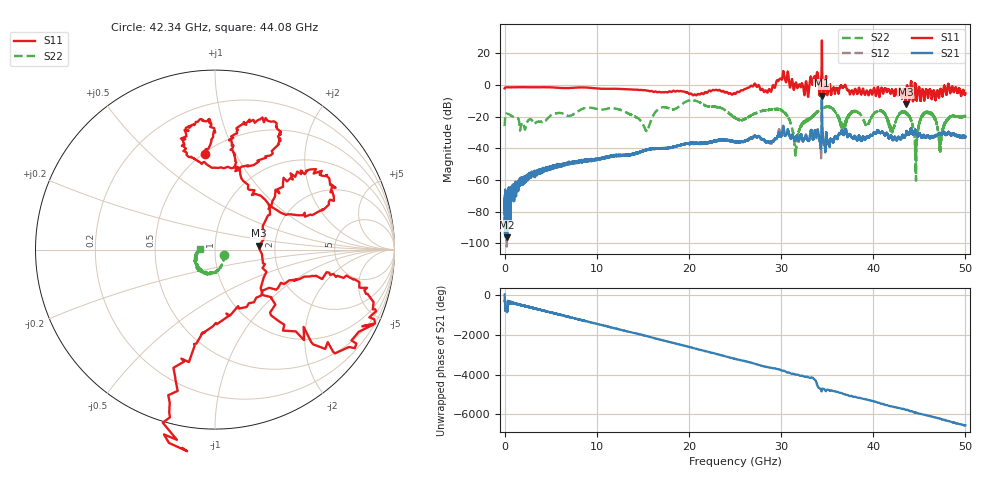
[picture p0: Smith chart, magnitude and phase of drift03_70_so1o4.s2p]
!Created with skrf (http://scikit-rf.org).
# Hz S RI R 50.0
!freq ReS11 ImS11 ReS21 ImS21 ReS12 ImS12 ReS22 ImS22
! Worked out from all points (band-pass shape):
!   10000 points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, 5.3 MHz to 50 GHz, reference 50 ohm
!   highest |S21| = -6.65 dB at 34.43 GHz (marker M1); lowest = -96.1 dB at 285.3 MHz (marker M2)
!   |S21| within 3 dB of the highest: 34.42738 GHz to 34.43436 GHz (6.981 MHz wide, 0.0203 % of centre)
!   lowest |S11| = -12.2 dB at 43.52 GHz (marker M3), VSWR 1.65, Z = 82.2 + j3.82 ohm
!   |S11| at or under -10 dB: 43.48486 GHz to 43.55086 GHz (65.99 MHz wide, 0.152 % of centre); 44.30576 GHz to 44.31408 GHz (8.322 MHz wide, 0.0188 % of centre); 45.13934 GHz to 45.14067 GHz (1.329 MHz wide, 0.00294 % of centre)
!   |S22| runs from -60.4 to -9.4 dB; largest |S21 - S12| = 0.15
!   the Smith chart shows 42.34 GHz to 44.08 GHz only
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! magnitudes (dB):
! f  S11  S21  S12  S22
! 5.3 MHz  -2.1  -69.9  -74.6  -25.9
! 285.3 MHz  -1.4  -96.1  -68.4  -18.0
! 2.825 GHz  -1.4  -56.9  -57.6  -21.5
! 8.34 GHz  -1.5  -48.8  -48.4  -15.3
! 12.5 GHz  -2.5  -44.6  -44.2  -15.5
! 15.4 GHz  -3.5  -41.0  -40.8  -29.0
! 16.67 GHz  -4.4  -40.1  -39.9  -15.3
! 20.46 GHz  -6.5  -36.5  -36.7  -9.5
! 25.01 GHz  -5.5  -36.0  -35.9  -20.8
! 29.92 GHz  4.0  -32.5  -31.5  -15.5
! 31.59 GHz  1.4  -33.8  -33.9  -43.8
! 33.34 GHz  2.6  -30.2  -30.5  -20.1
! 34.43 GHz  28.2  -6.6  -8.8  -14.5
! 36.69 GHz  -1.5  -29.6  -29.7  -27.5
! 37.95 GHz  -3.8  -32.8  -32.7  -16.4
! 41.67 GHz  -2.9  -33.3  -33.2  -23.9
! 43.52 GHz  -12.2  -31.5  -31.5  -17.9
! 44.62 GHz  -2.3  -29.5  -29.2  -56.6
! 45.61 GHz  -6.5  -32.7  -32.6  -17.5
! 47.28 GHz  -3.0  -30.7  -30.9  -42.1
! 48.27 GHz  -2.3  -30.9  -30.5  -20.5
! 50 GHz  -5.2  -32.4  -32.8  -19.6
